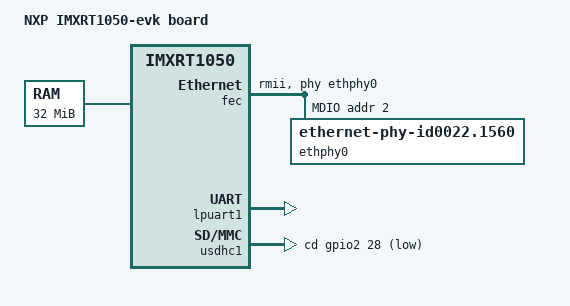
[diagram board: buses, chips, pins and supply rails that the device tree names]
// SPDX-License-Identifier: (GPL-2.0+ OR MIT)
/*
 * Copyright (C) 2019
 * Author(s): Giulio Benetti <giulio.benetti@benettiengineering.com>
 */

/dts-v1/;
#include "imxrt1050.dtsi"
#include "imxrt1050-pinfunc.h"

/ {
	model = "NXP IMXRT1050-evk board";
	compatible = "fsl,imxrt1050-evk", "fsl,imxrt1050";

	chosen {
		stdout-path = &lpuart1;
	};

	aliases {
		gpio0 = &gpio1;
		gpio1 = &gpio2;
		gpio2 = &gpio3;
		gpio3 = &gpio4;
		gpio4 = &gpio5;
		mmc0 = &usdhc1;
		serial0 = &lpuart1;
		ethernet0 = &fec;
	};

	memory@80000000 {
		device_type = "memory";
		reg = <0x80000000 0x2000000>;
	};

	reserved-memory {
		#address-cells = <1>;
		#size-cells = <1>;
		ranges;

		region0: mmio@0x81f00000 {
			compatible = "shared-dma-pool";
			reg = <0x81f00000 0x100000>;
			no-map;
			linux,dma-default;
		};
	};
};

&fec {
	pinctrl-names = "default";
	pinctrl-0 = <&pinctrl_enet &pinctrl_enet_mdio>;
	phy-mode = "rmii";
	phy-handle = <&ethphy0>;
	status = "okay";

	mdio {
		#address-cells = <1>;
		#size-cells = <0>;

		ethphy0: ethernet-phy@0 {
			compatible = "ethernet-phy-id0022.1560", "ethernet-phy-ieee802.3-c22";
			reg = <2>;
			micrel,led-mode = <1>;
			clocks = <&clks IMXRT1050_CLK_ENET_REF>;
			clock-names = "rmii-ref";
		};
	};
};

&lpuart1 {
	pinctrl-names = "default";
	pinctrl-0 = <&pinctrl_lpuart1>;
	status = "okay";
};

&iomuxc {
	pinctrl-names = "default";

	pinctrl_enet: enetgrp {
		fsl,pins = <
			MXRT1050_IOMUXC_GPIO_B1_10_ENET_TX_CLK		0xf1
			MXRT1050_IOMUXC_GPIO_B1_04_ENET_RX_DATA00	0xb0e9
			MXRT1050_IOMUXC_GPIO_B1_05_ENET_RX_DATA01	0xb0e9
			MXRT1050_IOMUXC_GPIO_B1_06_ENET_RX_EN		0xb0e9
			MXRT1050_IOMUXC_GPIO_B1_11_ENET_RX_ER		0xb0e9
			MXRT1050_IOMUXC_GPIO_B1_07_ENET_TX_DATA00	0xb0e9
			MXRT1050_IOMUXC_GPIO_B1_08_ENET_TX_DATA01	0xb0e9
			MXRT1050_IOMUXC_GPIO_B1_09_ENET_TX_EN		0xb0e9
			MXRT1050_IOMUXC_GPIO_AD_B0_09_GPIO1_IO09	0xb069
			MXRT1050_IOMUXC_GPIO_AD_B0_10_GPIO1_IO10	0xb069
		>;
	};

	pinctrl_enet_mdio: enetmdiogrp {
		fsl,pins = <
			MXRT1050_IOMUXC_GPIO_EMC_40_ENET_MDC		0xb0e9
			MXRT1050_IOMUXC_GPIO_EMC_41_ENET_MDIO		0xb829
		>;
	};

	pinctrl_lpuart1: lpuart1grp {
		fsl,pins = <
			MXRT1050_IOMUXC_GPIO_AD_B0_12_LPUART1_TXD	0xf1
			MXRT1050_IOMUXC_GPIO_AD_B0_13_LPUART1_RXD	0xf1
		>;
	};

	pinctrl_usdhc0: usdhc0grp {
		fsl,pins = <
			MXRT1050_IOMUXC_GPIO_B1_12_USDHC1_CD_B		0x1B000
			MXRT1050_IOMUXC_GPIO_B1_14_USDHC1_VSELECT	0xB069
			MXRT1050_IOMUXC_GPIO_SD_B0_00_USDHC1_CMD	0x17061
			MXRT1050_IOMUXC_GPIO_SD_B0_01_USDHC1_CLK	0x17061
			MXRT1050_IOMUXC_GPIO_SD_B0_05_USDHC1_DATA3	0x17061
			MXRT1050_IOMUXC_GPIO_SD_B0_04_USDHC1_DATA2	0x17061
			MXRT1050_IOMUXC_GPIO_SD_B0_03_USDHC1_DATA1	0x17061
			MXRT1050_IOMUXC_GPIO_SD_B0_02_USDHC1_DATA0	0x17061
		>;
	};
};

&usdhc1 {
	pinctrl-names = "default", "state_100mhz", "state_200mhz", "sleep";
	pinctrl-0 = <&pinctrl_usdhc0>;
	pinctrl-1 = <&pinctrl_usdhc0>;
	pinctrl-2 = <&pinctrl_usdhc0>;
	pinctrl-3 = <&pinctrl_usdhc0>;
	cd-gpios = <&gpio2 28 GPIO_ACTIVE_LOW>;
	status = "okay";
};
